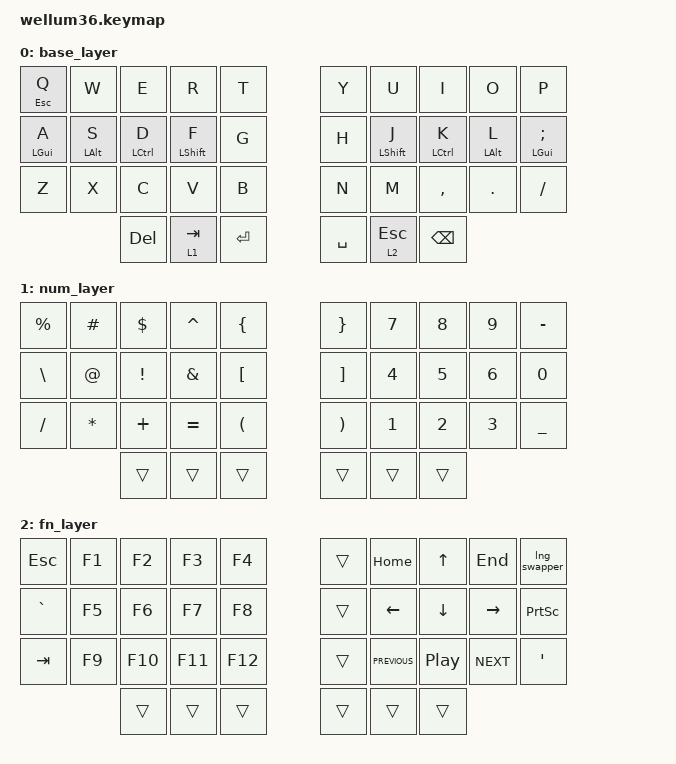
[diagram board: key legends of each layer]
#include <behaviors.dtsi>
#include <dt-bindings/zmk/keys.h>

&mt {
    quick-tap-ms = <100>;
    global-quick-tap;
    flavor = "tap-preferred";
    tapping-term-ms = <170>;
};

/ {
    macros {
        lng_swapper: lng_swapper {
            compatible = "zmk,behavior-macro";
            #binding-cells = <0>;
            bindings = <&kp LA(LEFT_SHIFT)>;
            label = "LNG_SWAPPER";
        };
    };

    keymap {
        compatible = "zmk,keymap";

        base_layer {
            bindings = <
&mt ESC Q   &kp W       &kp E        &kp R        &kp T      &kp Y      &kp U        &kp I         &kp O          &kp P
&mt LGUI A  &mt LALT S  &mt LCTRL D  &mt LSHFT F  &kp G      &kp H      &mt LSHFT J  &mt LCTRL K   &mt LALT L     &mt LGUI SEMICOLON
&kp Z       &kp X       &kp C        &kp V        &kp B      &kp N      &kp M        &kp COMMA     &kp DOT        &kp SLASH
                                     &kp DELETE   &lt 1 TAB  &kp ENTER  &kp SPACE    &lt 2 ESCAPE  &kp BACKSPACE
            >;
        };

        num_layer {
            bindings = <
&kp PERCENT    &kp HASH      &kp DOLLAR       &kp CARET      &kp LEFT_BRACE        &kp RIGHT_BRACE        &kp NUMBER_7  &kp NUMBER_8  &kp NUMBER_9  &kp MINUS
&kp BACKSLASH  &kp AT_SIGN   &kp EXCLAMATION  &kp AMPERSAND  &kp LEFT_BRACKET      &kp RBKT               &kp NUMBER_4  &kp N5        &kp NUMBER_6  &kp N0
&kp SLASH      &kp ASTERISK  &kp PLUS         &kp EQUAL      &kp LEFT_PARENTHESIS  &kp RIGHT_PARENTHESIS  &kp NUMBER_1  &kp NUMBER_2  &kp NUMBER_3  &kp UNDERSCORE
                                              &trans         &trans                &trans                 &trans        &trans        &trans
            >;
        };

        fn_layer {
            bindings = <
&kp ESCAPE  &kp F1  &kp F2   &kp F3   &kp F4   &trans  &kp HOME        &kp UP_ARROW      &kp END          &lng_swapper
&kp GRAVE   &kp F5  &kp F6   &kp F7   &kp F8   &trans  &kp LEFT_ARROW  &kp DOWN_ARROW    &kp RIGHT_ARROW  &kp PRINTSCREEN
&kp TAB     &kp F9  &kp F10  &kp F11  &kp F12  &trans  &kp C_PREVIOUS  &kp C_PLAY_PAUSE  &kp C_NEXT       &kp SQT
                             &trans   &trans   &trans  &trans          &trans            &trans
            >;
        };
    };
};
